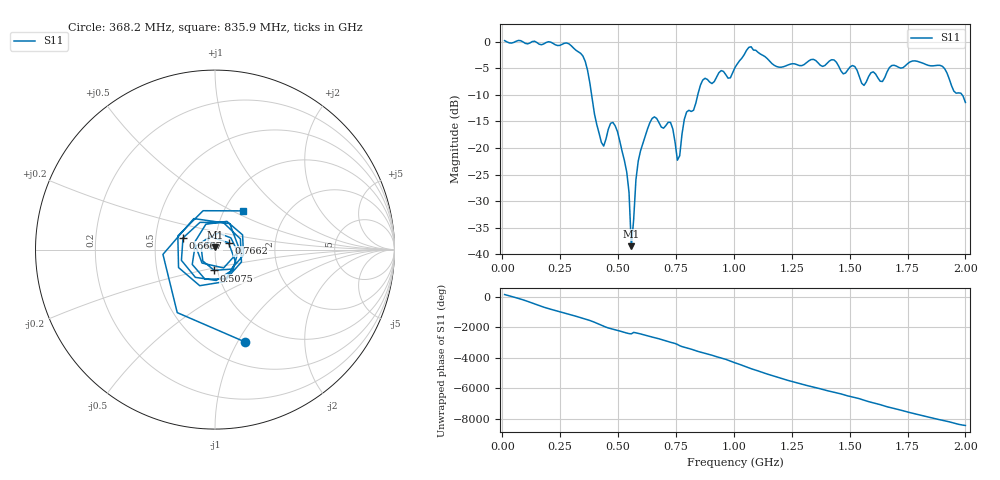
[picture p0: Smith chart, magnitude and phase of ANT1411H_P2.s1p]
!Created with skrf (http://scikit-rf.org).
# Hz S RI R 50.0
!freq ReS11 ImS11
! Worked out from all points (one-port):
!   201 points, 10 MHz to 2 GHz, reference 50 ohm
!   lowest |S11| = -38.5 dB at 557.2 MHz (marker M1), VSWR 1.02, Z = 50.1 + j1.18 ohm
!   |S11| at or under -10 dB: 385.7 MHz to 844.2 MHz (458.5 MHz wide, 74.6 % of centre); 1.986 GHz to end of sweep
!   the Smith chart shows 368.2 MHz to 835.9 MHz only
!   S11 on the Smith chart (normalised r, x): 368.2 MHz: 0.74, -1.07; 507.5 MHz: 0.97, -0.23; 666.7 MHz: 0.69, +0.09; 766.2 MHz: 1.16, +0.09; 835.9 MHz: 1.22, +0.57
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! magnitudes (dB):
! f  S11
! 10 MHz  0.2
! 258.8 MHz  -0.5
! 338.4 MHz  -2.2
! 368.2 MHz  -5.4
! 427.9 MHz  -18.9
! 477.6 MHz  -15.2
! 507.5 MHz  -18.7
! 547.3 MHz  -28.3
! 557.2 MHz  -38.5
! 577.1 MHz  -26.0
! 587.1 MHz  -22.5
! 636.9 MHz  -15.3
! 666.7 MHz  -14.4
! 726.4 MHz  -15.2
! 756.2 MHz  -22.3
! 766.2 MHz  -21.5
! 786.1 MHz  -14.6
! 835.9 MHz  -11.5
! 865.7 MHz  -7.2
! 1.005 GHz  -4.8
! 1.075 GHz  -0.9
! 1.184 GHz  -4.6
! 1.254 GHz  -4.1
! 1.502 GHz  -4.7
! 1.562 GHz  -8.2
! 1.751 GHz  -4.1
! 1.901 GHz  -4.6
! 2 GHz  -11.4
